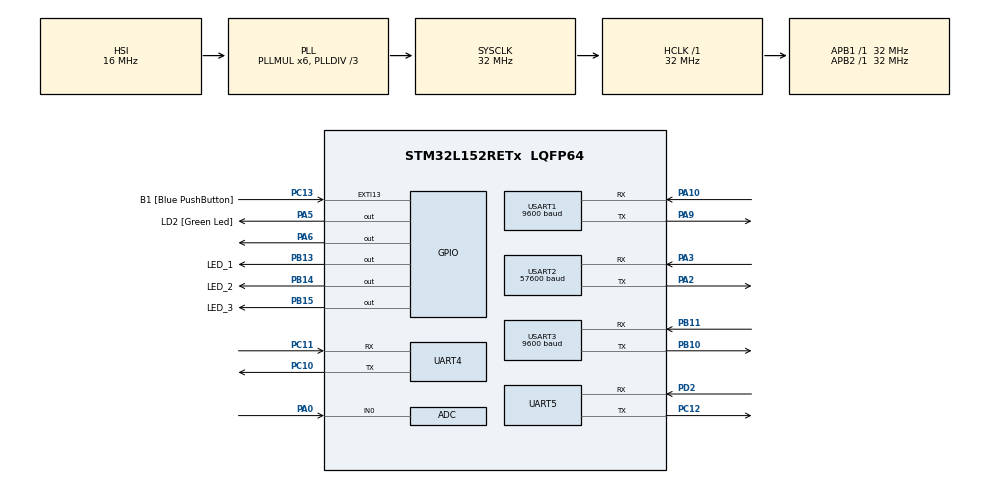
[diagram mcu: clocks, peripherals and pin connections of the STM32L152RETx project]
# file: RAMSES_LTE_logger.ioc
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ADC.Channel-0\#ChannelRegularConversion=ADC_CHANNEL_0
ADC.NbrOfConversionFlag=1
ADC.Rank-0\#ChannelRegularConversion=1
ADC.SamplingTime-0\#ChannelRegularConversion=ADC_SAMPLETIME_4CYCLES
Dma.Request0=USART2_RX
Dma.Request1=USART1_RX
Dma.Request2=USART3_RX
Dma.USART1_RX.1.Direction=DMA_PERIPH_TO_MEMORY
Dma.USART1_RX.1.Instance=DMA1_Channel5
Dma.USART1_RX.1.MemDataAlignment=DMA_MDATAALIGN_BYTE
Dma.USART1_RX.1.MemInc=DMA_MINC_ENABLE
Dma.USART1_RX.1.Mode=DMA_NORMAL
Dma.USART1_RX.1.PeriphDataAlignment=DMA_PDATAALIGN_BYTE
Dma.USART1_RX.1.PeriphInc=DMA_PINC_DISABLE
Dma.USART1_RX.1.Priority=DMA_PRIORITY_LOW
Dma.USART2_RX.0.Direction=DMA_PERIPH_TO_MEMORY
Dma.USART2_RX.0.Instance=DMA1_Channel6
Dma.USART2_RX.0.MemDataAlignment=DMA_MDATAALIGN_BYTE
Dma.USART2_RX.0.MemInc=DMA_MINC_ENABLE
Dma.USART2_RX.0.Mode=DMA_NORMAL
Dma.USART2_RX.0.PeriphDataAlignment=DMA_PDATAALIGN_BYTE
Dma.USART2_RX.0.PeriphInc=DMA_PINC_DISABLE
Dma.USART2_RX.0.Priority=DMA_PRIORITY_LOW
Dma.USART3_RX.2.Direction=DMA_PERIPH_TO_MEMORY
Dma.USART3_RX.2.Instance=DMA1_Channel3
Dma.USART3_RX.2.MemDataAlignment=DMA_MDATAALIGN_BYTE
Dma.USART3_RX.2.MemInc=DMA_MINC_ENABLE
Dma.USART3_RX.2.Mode=DMA_NORMAL
Dma.USART3_RX.2.PeriphDataAlignment=DMA_PDATAALIGN_BYTE
Dma.USART3_RX.2.PeriphInc=DMA_PINC_DISABLE
Dma.USART3_RX.2.Priority=DMA_PRIORITY_LOW
Mcu.Family=STM32L1
Mcu.Name=STM32L152RETx
Mcu.Package=LQFP64
NVIC.DMA1_Channel3_IRQn=true\:0\:0\:false\:false\:true\:false\:true\:true
NVIC.DMA1_Channel5_IRQn=true\:0\:0\:false\:false\:true\:false\:true\:true
NVIC.DMA1_Channel6_IRQn=true\:0\:0\:false\:false\:true\:false\:true\:true
NVIC.PriorityGroup=NVIC_PRIORITYGROUP_0
NVIC.USART1_IRQn=true\:0\:0\:false\:false\:true\:true\:true\:true
NVIC.USART2_IRQn=true\:0\:0\:false\:false\:true\:true\:true\:true
NVIC.USART3_IRQn=true\:0\:0\:false\:false\:true\:true\:true\:true
PA0-WKUP1.Mode=IN0
PA0-WKUP1.Signal=ADC_IN0
PA10.Mode=Asynchronous
PA10.Signal=USART1_RX
PA13.GPIO_Label=TMS
PA13.Signal=SYS_JTMS-SWDIO
PA14.GPIO_Label=TCK
PA14.Signal=SYS_JTCK-SWCLK
PA2.Mode=Asynchronous
PA2.Signal=USART2_TX
PA3.Mode=Asynchronous
PA3.Signal=USART2_RX
PA5.GPIO_Label=LD2 [Green Led]
PA5.Signal=GPIO_Output
PA6.Signal=GPIO_Output
PA9.Mode=Asynchronous
PA9.Signal=USART1_TX
PB10.Mode=Asynchronous
PB10.Signal=USART3_TX
PB11.Mode=Asynchronous
PB11.Signal=USART3_RX
PB13.GPIO_Label=LED_1
PB13.Signal=GPIO_Output
PB14.GPIO_Label=LED_2
PB14.Signal=GPIO_Output
PB15.GPIO_Label=LED_3
PB15.Signal=GPIO_Output
PB3.GPIO_Label=SWO
PB3.Signal=SYS_JTDO-TRACESWO
PC10.Mode=Asynchronous
PC10.Signal=UART4_TX
PC11.Mode=Asynchronous
PC11.Signal=UART4_RX
PC12.Mode=Asynchronous
PC12.Signal=UART5_TX
PC13-WKUP2.GPIO_Label=B1 [Blue PushButton]
PC13-WKUP2.Signal=GPXTI13
PC14-OSC32_IN.Signal=RCC_OSC32_IN
PC15-OSC32_OUT.Signal=RCC_OSC32_OUT
PD2.Mode=Asynchronous
PD2.Signal=UART5_RX
PH0-OSC_IN.Signal=RCC_OSC_IN
PH1-OSC_OUT.Signal=RCC_OSC_OUT
ProjectManager.HeapSize=0x200
ProjectManager.StackSize=0x400
ProjectManager.TargetToolchain=STM32CubeIDE
RCC.48MHZClocksFreq_Value=48000000
RCC.AHBFreq_Value=32000000
RCC.APB1Freq_Value=32000000
RCC.APB1TimFreq_Value=32000000
RCC.APB2Freq_Value=32000000
RCC.APB2TimFreq_Value=32000000
RCC.HCLKFreq_Value=32000000
RCC.HSE_VALUE=8000000
RCC.HSI_VALUE=16000000
RCC.LSE_VALUE=32768
RCC.MSI_VALUE=2097000
RCC.PLLDIV=RCC_PLL_DIV3
RCC.PLLMUL=RCC_PLL_MUL6
RCC.RTCClockSelectionVirtual=RCC_RTCCLKSOURCE_LSE
RCC.SYSCLKFreq_VALUE=32000000
RCC.SYSCLKSource=RCC_SYSCLKSOURCE_PLLCLK
RCC.USBOutput=48000000
RCC.VCOOutputFreq_Value=96000000
UART4.VirtualMode=Asynchronous
UART5.VirtualMode=Asynchronous
USART1.BaudRate=9600
USART1.VirtualMode=VM_ASYNC
USART2.BaudRate=57600
USART2.VirtualMode=VM_ASYNC
USART3.BaudRate=9600
USART3.VirtualMode=VM_ASYNC
board=NUCLEO-L152RE

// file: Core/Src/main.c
/* USER CODE BEGIN Header */
/**
 ******************************************************************************
 * @file           : main.c
 * @brief          : Main program body
 ******************************************************************************
 * @attention
 *
 * Copyright (c) 2023 STMicroelectronics.
 * All rights reserved.
 *
 * This software is licensed under terms that can be found in the LICENSE file
 * in the root directory of this software component.
 * If no LICENSE file comes with this software, it is provided AS-IS.
 *
 ******************************************************************************
 */
/* USER CODE END Header */
#include "main.h"

/* USER CODE BEGIN Includes */

#include "UART_DMA.h"
#include "scheduler.h"
#include <stdio.h>
#include <stdbool.h>
#include <time.h>
#include <stdlib.h>
#include <string.h>

/* USER CODE END Includes */

/* USER CODE BEGIN PD */

UARTDMA_HandleTypeDef hLTE_uart2dma6;
UARTDMA_HandleTypeDef hRAM_1_uart1dma5;
UARTDMA_HandleTypeDef hRAM_2_uart3dma3;

/* USER CODE END PD */

ADC_HandleTypeDef hadc;

UART_HandleTypeDef huart4;
UART_HandleTypeDef huart5;
UART_HandleTypeDef huart1;
UART_HandleTypeDef huart2;
UART_HandleTypeDef huart3;
DMA_HandleTypeDef hdma_usart1_rx;
DMA_HandleTypeDef hdma_usart2_rx;
DMA_HandleTypeDef hdma_usart3_rx;

/* USER CODE BEGIN PV */

uint8_t g_LTE_ParseBuffer[BUFFER_SIZE];
uint8_t g_RAM_1_ParseBuffer[BUFFER_SIZE];
uint8_t g_RAM_2_ParseBuffer[BUFFER_SIZE];

uint8_t g_fileName[60] = "AT+FTPPUTNAME=\"unknown_";

uint8_t g_dataSize[20] = " AT+FTPPUT=2,0";

uint8_t g_dataSizeResponse[20] = "+FTPPUT=2,0";

uint8_t gps_data_latest[BUFFER_SIZE] = {};

uint8_t g_RAM_1_data_latest[BUFFER_SIZE] = {};
uint16_t g_RAM_1_data_size = 0;
uint8_t g_RAM_1_data_ready = 0;
uint8_t g_RAM_1_dataSize[20] = " AT+FTPPUT=2,0"; // buffer to prepare FTP for data
uint8_t g_RAM_1_dataSizeResponse[20] = "+FTPPUT=2,0";
long g_RAM_1_timer = 0;

uint8_t g_RAM_1_triggered = 0;

uint8_t g_RAM_2_data_latest[BUFFER_SIZE] = {};
uint16_t g_RAM_2_data_size = 0;
uint8_t g_RAM_2_data_ready = 0;
uint8_t g_RAM_2_dataSize[20] = " AT+FTPPUT=2,0"; // buffer to prepare FTP for data
uint8_t g_RAM_2_dataSizeResponse[20] = "+FTPPUT=2,0";
long g_RAM_2_timer = 0;

uint8_t g_RAM_2_triggered = 0;

command LTE_sim_check_active = {
		.cmd = (uint8_t*)"AT\r\n",
		.length = 0, // zero indicate's it's a char. LTE_Send function handles it automatically
		.good_answer = (uint8_t*)"OK",
		.timeout = 2000,
		.bad_answer = (uint8_t*)"ERROR",
		.act_on_error = RETRY,
		.retry_counter = 3
};

command LTE_disable_echo = {
		.cmd = (uint8_t*)"ATE0\r\n",
		.length = 0, // zero indicate's it's a char. LTE_Send function handles it automatically
		.good_answer = (uint8_t*)"OK",
		.timeout = 2000,
		.bad_answer = (uint8_t*)"ERROR",
		.act_on_error = RETRY,
		.retry_counter = 3
};

command LTE_deactivate_gprs = {
		.cmd = (uint8_t*)"AT+CIPSHUT\r\n",
		.length = 0, // zero indicate's it's a char. LTE_Send function handles it automatically
		.good_answer = (uint8_t*)"SHUT OK",
		.timeout = 2000,
		.bad_answer = (uint8_t*)"ERROR",
		.act_on_error = RETRY,
		.retry_counter = 3
};

command LTE_attach_gprs = {
		.cmd = (uint8_t*)"AT+CGATT=1\r\n",
		.length = 0, // zero indicate's it's a char. LTE_Send function handles it automatically
		.good_answer = (uint8_t*)"OK",
		.timeout = 2000,
		.bad_answer = (uint8_t*)"ERROR",
		.act_on_error = RETRY,
		.retry_counter = 3
};

command LTE_set_apn = {
		.cmd = (uint8_t*)"AT+CSTT=\"internet\",\"\",\"\"\r\n",
		.length = 0, // zero indicate's it's a char. LTE_Send function handles it automatically
		.good_answer = (uint8_t*)"OK",
		.timeout = 5000,
		.bad_answer = (uint8_t*)"ERROR",
		.act_on_error = RETRY,
		.retry_counter = 3
};

command LTE_gprs_up = {
		.cmd = (uint8_t*)"AT+CIICR\r\n",
		.length = 0, // zero indicate's it's a char. LTE_Send function handles it automatically
		.good_answer = (uint8_t*)"OK",
		.timeout = 5000,
		.bad_answer = (uint8_t*)"ERROR",
		.act_on_error = RETRY,
		.retry_counter = 3
};

command LTE_get_ip = {
		.cmd = (uint8_t*)"AT+CIFSR\r\n",
		.length = 0, // zero indicate's it's a char. LTE_Send function handles it automatically
		.good_answer = (uint8_t*)"ANY",
		.timeout = 5000,
		.bad_answer = (uint8_t*)"ERROR",
		.act_on_error = RETRY,
		.retry_counter = 3
};

command LTE_init_gps = {
		.cmd = (uint8_t*)"AT+CGNSPWR=1\r\n",
		.length = 0, // zero indicate's it's a char. LTE_Send function handles it automatically
		.good_answer = (uint8_t*)"OK",
		.timeout = 2000,
		.bad_answer = (uint8_t*)"ERROR",
		.act_on_error = RETRY,
		.retry_counter = 3
};

command LTE_get_position = {
		.cmd = (uint8_t*)"AT+CGNSINF\r\n",
		.length = 0, // zero indicate's it's a char. LTE_Send function handles it automatically
		.good_answer = (uint8_t*)"OK",
		.timeout = 2000,
		.bad_answer = (uint8_t*)"ERROR",
		.act_on_error = RETRY,
		.retry_counter = 0
};

command LTE_ftp_quit = {
		.cmd = (uint8_t*)"AT+FTPQUIT\r\n",
		.length = 0, // zero indicate's it's a char. LTE_Send function handles it automatically
		.good_answer = (uint8_t*)"ANY",
		.timeout = 2000,
		.bad_answer = (uint8_t*)"ERROR",
		.act_on_error = MOVE_ON,
		.retry_counter = 0
};

command LTE_bearer_1 = {
		.cmd = (uint8_t*)"AT+SAPBR=3,1,\"Contype\",\"GPRS\"\r\n",
		.length = 0, // zero indicate's it's a char. LTE_Send function handles it automatically
		.good_answer = (uint8_t*)"OK",
		.timeout = 2000,
		.bad_answer = (uint8_t*)"ERROR",
		.act_on_error = MOVE_ON,
		.retry_counter = 0
};

command LTE_bearer_2 = {
		.cmd = (uint8_t*)"AT+SAPBR=3,1,\"APN\",\"internet\"\r\n",
		.length = 0, // zero indicate's it's a char. LTE_Send function handles it automatically
		.good_answer = (uint8_t*)"OK",
		.timeout = 2000,
		.bad_answer = (uint8_t*)"ERROR",
		.act_on_error = MOVE_ON,
		.retry_counter = 0
};

command LTE_bearer_3 = {
		.cmd = (uint8_t*)"AT+SAPBR=1,1\r\n",
		.length = 0, // zero indicate's it's a char. LTE_Send function handles it automatically
		//.good_answer = (uint8_t*)"OK",
		.good_answer = (uint8_t*)"ANY",
		.timeout = 2000,
		.bad_answer = (uint8_t*)"ERROR",
		.act_on_error = MOVE_ON,
		.retry_counter = 0
};

command LTE_set_dns = {
		.cmd = (uint8_t*)"AT+CDNSCFG=\"8.8.8.8\",\"8.8.4.4\"\r\n",
		.length = 0, // zero indicate's it's a char. LTE_Send function handles it automatically
		.good_answer = (uint8_t*)"OK",
		.timeout = 2000,
		.bad_answer = (uint8_t*)"ERROR",
		.act_on_error = MOVE_ON,
		.retry_counter = 0
};

command LTE_ftp_bearer = {
		.cmd = (uint8_t*)"AT+FTPCID=1\r\n",
		.length = 0, // zero indicate's it's a char. LTE_Send function handles it automatically
		.good_answer = (uint8_t*)"OK",
		.timeout = 2000,
		.bad_answer = (uint8_t*)"ERROR",
		.act_on_error = MOVE_ON,
		.retry_counter = 0
};

command LTE_ftp_type_binary = {
		.cmd = (uint8_t*)"AT+FTPTYPE=\"I\"\r\n",
		.length = 0, // zero indicate's it's a char. LTE_Send function handles it automatically
		.good_answer = (uint8_t*)"OK",
		.timeout = 2000,
		.bad_answer = (uint8_t*)"ERROR",
		.act_on_error = MOVE_ON,
		.retry_counter = 0
};

command LTE_ftp_append = {
		.cmd = (uint8_t*)"AT+FTPPUTOPT=\"APPE\"\r\n",
		.length = 0, // zero indicate's it's a char. LTE_Send function handles it automatically
		.good_answer = (uint8_t*)"OK",
		.timeout = 2000,
		.bad_answer = (uint8_t*)"ERROR",
		.act_on_error = MOVE_ON,
		.retry_counter = 0
};

command LTE_ftp_ip = {
		.cmd = (uint8_t*)"AT+FTPSERV=\"188.210.221.82\"\r\n",
		.length = 0, // zero indicate's it's a char. LTE_Send function handles it automatically
		.good_answer = (uint8_t*)"OK",
		.timeout = 2000,
		.bad_answer = (uint8_t*)"ERROR",
		.act_on_error = MOVE_ON,
		.retry_counter = 0
};

command LTE_ftp_user = {
		.cmd = (uint8_t*)"AT+FTPUN=\"ftp@unmanned.solutions\"\r\n",
		.length = 0, // zero indicate's it's a char. LTE_Send function handles it automatically
		.good_answer = (uint8_t*)"OK",
		.timeout = 2000,
		.bad_answer = (uint8_t*)"ERROR",
		.act_on_error = MOVE_ON,
		.retry_counter = 0
};

command LTE_ftp_pass = {
		.cmd = (uint8_t*)"AT+FTPPW=\"cIzCm9jQ\"\r\n",
		.length = 0, // zero indicate's it's a char. LTE_Send function handles it automatically
		.good_answer = (uint8_t*)"OK",
		.timeout = 2000,
		.bad_answer = (uint8_t*)"ERROR",
		.act_on_error = MOVE_ON,
		.retry_counter = 0
};

command LTE_ftp_port = {
		.cmd = (uint8_t*)"AT+FTPPORT=21\r\n",
		.length = 0, // zero indicate's it's a char. LTE_Send function handles it automatically
		.good_answer = (uint8_t*)"OK",
		.timeout = 2000,
		.bad_answer = (uint8_t*)"ERROR",
		.act_on_error = MOVE_ON,
		.retry_counter = 0
};

command LTE_ftp_path = {
		.cmd = (uint8_t*)"AT+FTPPUTPATH=\"/\"\r\n",
		.length = 0, // zero indicate's it's a char. LTE_Send function handles it automatically
		.good_answer = (uint8_t*)"OK",
		.timeout = 2000,
		.bad_answer = (uint8_t*)"ERROR",
		.act_on_error = MOVE_ON,
		.retry_counter = 0
};

command LTE_get_time = {
		.cmd = (uint8_t*)"AT+CCLK?\r\n",
		.length = 0, // zero indicate's it's a char. LTE_Send function handles it automatically
		.good_answer = (uint8_t*)"OK",
		.timeout = 5000,
		.bad_answer = (uint8_t*)"ERROR",
		.act_on_error = MOVE_ON,
		.retry_counter = 0
};

command LTE_ftp_filename = {
		.cmd = g_fileName,
		.length = 0, // zero indicate's it's a char. LTE_Send function handles it automatically
		.good_answer = (uint8_t*)"OK",
		.timeout = 5000,
		.bad_answer = (uint8_t*)"ERROR",
		.act_on_error = MOVE_ON,
		.retry_counter = 0
};

command LTE_ftp_start_put = {
		.cmd = (uint8_t*)"AT+FTPPUT=1\r\n",
		.length = 0, // zero indicate's it's a char. LTE_Send function handles it automatically
		.good_answer = (uint8_t*)"+FTPPUT: 1,1,1360",
		.timeout = 10000,
		.bad_answer = (uint8_t*)"+FTPPUT: 1,66",
		.act_on_error = RESET_PROCESSOR,
		.retry_counter = 0
};

command LTE_ftp_put_data_size = {
		.cmd = g_dataSize,
		.length = 0, // zero indicate's it's a char. LTE_Send function handles it automatically
		.good_answer = g_dataSizeResponse,
		.timeout = 4000,
		.bad_answer = (uint8_t*)"ERROR",
		.act_on_error = RESET_PROCESSOR,
		.retry_counter = 0
};

command LTE_ftp_put_data = {
		.cmd = gps_data_latest,
		.length = 0, // zero indicate's it's a char. LTE_Send function handles it automatically
		//.good_answer = (uint8_t*)"OK",
		.good_answer = (uint8_t*)"+FTPPUT: 1,1,1360",
		.timeout = 4000,
		.bad_answer = (uint8_t*)"ERROR",
		.act_on_error = RESET_PROCESSOR,
		.retry_counter = 0
};

command LTE_ftp_end_put = {
		.cmd = (uint8_t*)"AT+FTPPUT=2,0\r\n",
		.length = 0, // zero indicate's it's a char. LTE_Send function handles it automatically
		.good_answer = (uint8_t*)"OK",
		.timeout = 5000,
		.bad_answer = (uint8_t*)"ERROR",
		.act_on_error = RESET_PROCESSOR,
		.retry_counter = 0
};

// SIGNAL commands
command LTE_ftp_active = {
		.cmd = (uint8_t*)"FTP_ACTIVE"
};

command LTE_reset_action = {
		.cmd = (uint8_t*)"RESET_ACTION"
};

command RAM_1_query = {
		.cmd = (uint8_t*)"RAMSES_1_QUERY"
};

command RAM_1_sample = {
		.cmd = (uint8_t*)"RAMSES_1_SAMPLE"
};

command RAM_2_query = {
		.cmd = (uint8_t*)"RAMSES_2_QUERY"
};

command RAM_2_sample = {
		.cmd = (uint8_t*)"RAMSES_2_SAMPLE"
};

command RAM_1_2_sample = {
		.cmd = (uint8_t*)"RAMSES_1_2_SAMPLE"
};

command LTE_ftp_put_RAM_1_data_size = {
		.cmd = g_RAM_1_dataSize,
		.length = 0, // zero indicate's it's a char. LTE_Send function handles it automatically
		.good_answer = g_RAM_1_dataSizeResponse,
		.timeout = 4000,
		.bad_answer = (uint8_t*)"ERROR",
		.act_on_error = RESET_PROCESSOR,
		.retry_counter = 0
};

command LTE_ftp_put_RAM_2_data_size = {
		.cmd = g_RAM_2_dataSize,
		.length = 0, // zero indicate's it's a char. LTE_Send function handles it automatically
		.good_answer = g_RAM_2_dataSizeResponse,
		.timeout = 4000,
		.bad_answer = (uint8_t*)"ERROR",
		.act_on_error = RESET_PROCESSOR,
		.retry_counter = 0
};

command LTE_ftp_put_RAM_1_data = {  // sizeof will not work here
		.cmd = g_RAM_1_data_latest,
		.length = -1, // that's a bitfield
		.good_answer = (uint8_t*)"+FTPPUT: 1,1,1360",
		//.good_answer = (uint8_t*)"OK",
		.timeout = 4000,
		.bad_answer = (uint8_t*)"ERROR",
		.act_on_error = RESET_PROCESSOR,
		.retry_counter = 0
};

command LTE_ftp_put_RAM_2_data = { // sizeof will not work here
		.cmd = g_RAM_2_data_latest,
		.length = -1, // that's a bitfield
		//.good_answer = (uint8_t*)"OK",
		.good_answer = (uint8_t*)"+FTPPUT: 1,1,1360",
		.timeout = 4000,
		.bad_answer = (uint8_t*)"ERROR",
		.act_on_error = RESET_PROCESSOR,
		.retry_counter = 0
};

command LTE_ftp_put_RAM_1_preamble_size = {
		.cmd = (uint8_t*)"AT+FTPPUT=2,7\r\n",
		.length = 0, // zero indicate's it's a char. LTE_Send function handles it automatically
		.good_answer = (uint8_t*)"+FTPPUT: 2,7",
		.timeout = 5000,
		.bad_answer = (uint8_t*)"ERROR",
		.act_on_error = RESET_PROCESSOR,
		.retry_counter = 0
};

command LTE_ftp_put_RAM_1_preamble = {
		.cmd = (uint8_t*)"#+RAM_1",
		.length = 0, // zero indicate's it's a char. LTE_Send function handles it automatically
		.good_answer = (uint8_t*)"+FTPPUT: 1,1,1360",
		.timeout = 4000,
		.bad_answer = (uint8_t*)"ERROR",
		.act_on_error = RESET_PROCESSOR,
		.retry_counter = 0
};

command LTE_ftp_put_RAM_2_preamble_size = {
		.cmd = (uint8_t*)"AT+FTPPUT=2,7\r\n",
		.length = 0, // zero indicate's it's a char. LTE_Send function handles it automatically
		.good_answer = (uint8_t*)"+FTPPUT: 2,7",
		.timeout = 5000,
		.bad_answer = (uint8_t*)"ERROR",
		.act_on_error = RESET_PROCESSOR,
		.retry_counter = 0
};

command LTE_ftp_put_RAM_2_preamble = {
		.cmd = (uint8_t*)"#+RAM_2",
		.length = 0, // zero indicate's it's a char. LTE_Send function handles it automatically
		.good_answer = (uint8_t*)"+FTPPUT: 1,1,1360",
		.timeout = 4000,
		.bad_answer = (uint8_t*)"ERROR",
		.act_on_error = RESET_PROCESSOR,
		.retry_counter = 0
};

/* USER CODE END PV */

void SystemClock_Config(void);
static void MX_GPIO_Init(void);
static void MX_DMA_Init(void);
static void MX_USART2_UART_Init(void);
static void MX_UART4_Init(void);
static void MX_USART1_UART_Init(void);
static void MX_USART3_UART_Init(void);
static void MX_ADC_Init(void);
static void MX_UART5_Init(void);
/* USER CODE BEGIN PFP */

#ifdef __GNUC__
#define PUTCHAR_PROTOTYPE int __io_putchar(int ch)
#else
#define PUTCHAR_PROTOTYPE int fputc(int ch, FILE *f)
#endif

PUTCHAR_PROTOTYPE
{
	HAL_UART_Transmit(&huart4, (uint8_t *)&ch, 1, HAL_MAX_DELAY);
	return ch;
}

/* USER CODE END PFP */

int main(void)
{

	/* MCU Configuration--------------------------------------------------------*/

	/* Reset of all peripherals, Initializes the Flash interface and the Systick. */
	HAL_Init();

	/* Configure the system clock */
	SystemClock_Config();

	/* USER CODE BEGIN SysInit */

	srand(time(NULL));

	/* USER CODE END SysInit */

	/* Initialize all configured peripherals */
	MX_GPIO_Init();
	MX_DMA_Init();
	MX_USART2_UART_Init();
	MX_UART4_Init();
	MX_USART1_UART_Init();
	MX_USART3_UART_Init();
	MX_ADC_Init();
	MX_UART5_Init();
	/* USER CODE BEGIN 2 */

	UARTDMA_Init(&hLTE_uart2dma6, &huart2); // receives LTE modem serial
	UARTDMA_Init(&hRAM_1_uart1dma5, &huart1); // receives RAMSES 1 serial
	UARTDMA_Init(&hRAM_2_uart3dma3, &huart3); // receives RAMSES 2 serial

	HAL_GPIO_WritePin(LED_1_GPIO_Port, LED_1_Pin, SET);
	HAL_GPIO_WritePin(LED_2_GPIO_Port, LED_2_Pin, SET);
	HAL_GPIO_WritePin(LED_3_GPIO_Port, LED_3_Pin, SET);

	/* USER CODE END 2 */

	/* Infinite loop */
	/* USER CODE BEGIN WHILE */

	char random[20]; 				// create an initial file name, in case LTE won't get time fix
	itoa(rand(), random, 10);
	strcat((char*)g_fileName, random);
	strcat((char*)g_fileName, ".txt\"\r\n");

	printf("\t\tFILE_RAND: %s\r\n", g_fileName);

	// query, sample, dataSize, data

	uint8_t current_action = 0; // currently executed action

	uint8_t filename_time_set = 0; // flag to see if random file name was updated with LTE time

	//uint8_t transfer_status = 0;

	command action_list[255]; // list of actions to perform

	uint8_t startup = 0; // flag to see if we just reset the processor to check LTE modem - if it is On or Off

	int resolution = 0; // reduces amount of printf, helpful in case there's no delay between loops

	action_list[0] = LTE_sim_check_active;
	action_list[1] = LTE_disable_echo;
	action_list[2] = LTE_deactivate_gprs;
	action_list[3] = LTE_attach_gprs;
	action_list[4] = LTE_set_apn;
	action_list[5] = LTE_gprs_up;
	action_list[6] = LTE_get_ip;
	action_list[7] = LTE_init_gps;
	action_list[8] = LTE_reset_action;
	action_list[9] = LTE_bearer_1;
	action_list[10] = LTE_bearer_2;
	action_list[11] = LTE_bearer_3;
	action_list[12] = LTE_set_dns;

	action_list[13] = RAM_1_query;

	action_list[14] = LTE_get_position;

	action_list[15] = RAM_2_query;

	action_list[16] = LTE_get_time;

	action_list[17] = LTE_ftp_quit;
	action_list[18] = LTE_ftp_bearer;
	action_list[19] = LTE_ftp_type_binary;
	action_list[20] = LTE_ftp_append;
	action_list[21] = LTE_ftp_ip;
	action_list[22] = LTE_ftp_user;
	action_list[23] = LTE_ftp_pass;
	action_list[24] = LTE_ftp_port;
	action_list[25] = LTE_ftp_path;
	action_list[26] = LTE_ftp_filename;

	action_list[27] = LTE_ftp_start_put;
	action_list[28] = LTE_ftp_put_data_size;
	action_list[29] = LTE_ftp_put_data;

	action_list[30] = LTE_ftp_put_RAM_1_preamble_size;
	action_list[31] = LTE_ftp_put_RAM_1_preamble;

	action_list[32] = LTE_ftp_put_RAM_1_data_size;
	action_list[33] = LTE_ftp_put_RAM_1_data;

	action_list[34] = LTE_ftp_put_RAM_2_preamble_size;
	action_list[35] = LTE_ftp_put_RAM_2_preamble;

	action_list[36] = LTE_ftp_put_RAM_2_data_size;
	action_list[37] = LTE_ftp_put_RAM_2_data;

	action_list[38] = LTE_ftp_end_put;

	action_list[39] = RAM_1_sample;

	action_list[40] = LTE_get_position;

	action_list[41] = RAM_2_sample;

	action_list[42] = LTE_get_time;

	// sample loop cycle below

	action_list[43] = LTE_ftp_start_put;
	action_list[44] = LTE_ftp_put_data_size;
	action_list[45] = LTE_ftp_put_data;

	action_list[46] = LTE_ftp_put_RAM_1_preamble_size;
	action_list[47] = LTE_ftp_put_RAM_1_preamble;

	action_list[48] = LTE_ftp_put_RAM_1_data_size;
	action_list[49] = LTE_ftp_put_RAM_1_data;

	action_list[50] = LTE_ftp_put_RAM_2_preamble_size;
	action_list[51] = LTE_ftp_put_RAM_2_preamble;

	action_list[52] = LTE_ftp_put_RAM_2_data_size;
	action_list[53] = LTE_ftp_put_RAM_2_data;

	action_list[54] = LTE_ftp_end_put;

	// get new data
	action_list[55] = RAM_1_sample; 				// list ends with request for new data. A new cycle should be triggered when both RAMSESEs sends data

	action_list[56] = LTE_get_position;

	action_list[57] = RAM_2_sample;

	action_list[58] = LTE_get_time;

	action_list[59] = LTE_reset_action;

	uint8_t last_action = 59; // number of the last action we want to execute
	uint8_t cycle_start_action = 43; // number of the last action we want to execute

	//
	//	action_list[17] = LTE_ftp_start_put;
	//	action_list[18] = LTE_ftp_put_RAM_1_data_size;
	//	action_list[19] = RAM_1_send_LTE;
	//
	//	action_list[20] = LTE_ftp_start_put;
	//	action_list[21] = LTE_ftp_put_RAM_2_data_size;
	//	action_list[22] = RAM_2_send_LTE;

	// action_list[] = RAM_1_sample;
	// action_list[] = RAM_2_sample;

	// action_list[] = LTE_ftp_start_put;
	// action_list[] = LTE_ftp_put_RAM_1_data_size;
	// action_list[] = RAM_1_send_LTE;

	// action_list[] = LTE_ftp_start_put;
	// action_list[] = LTE_ftp_put_RAM_2_data_size;
	// action_list[] = RAM_2_send_LTE;

	//uint8_t ftp_transfer_active = 0;

	Clear_Array(g_LTE_ParseBuffer, BUFFER_SIZE); // let's start with clean LTE buffer

	hRAM_1_uart1dma5.UartTransferCompleted = 0;
	hRAM_2_uart3dma3.UartTransferCompleted = 0;

	uint8_t ftp_flag = 0;

	while (1)
	{

		if(current_action > last_action){ // wait with a cycle, until RAMSES data is ready
			if(g_RAM_1_data_ready == 1 && g_RAM_2_data_ready == 1){
				current_action = cycle_start_action; // WARNING, the end of the list must trigger RAMSES measurements (or RAMSES timeout)
			}else{
				current_action = last_action;
			}
			Clear_Array(g_LTE_ParseBuffer, BUFFER_SIZE);
		}

		if(action_list[current_action].cmd == LTE_ftp_quit.cmd){ // ftp connection process starts, start blinking blue led.
			ftp_flag = 1;
		}

		if((resolution % 50) == 0){ // reducing UI speed
			//printf("TRYING: >>%s<<\r\n", action_list[current_action].cmd);
			printf("TRYING: >>%d<<\r\n", current_action);

			if(ftp_flag == 1){
				HAL_GPIO_TogglePin(LED_2_GPIO_Port, LED_2_Pin); //  ftp connection process starts, start blinking blue led.
			}
		}

		enum State state = Do_Action(action_list[current_action], g_LTE_ParseBuffer);
		resolution++;

		//uint8_t query[] = { 0x23, 0x00, 0x00, 0x80, 0xB0, 0x00, 0x00, 0x01 };
		//uint8_t query[] = { 0x23, 0x00, 0x00, 0x00, 0xA8, 0x00, 0x81, 0x01 };

		switch (state){
		case GOOD_ANSWER:
			//HAL_UART_Transmit(&huart1, query, SAMPLE_CMD_SIZE, 500);
			//HAL_UART_Transmit(&huart3, sam, SAMPLE_CMD_SIZE, 500);

			HAL_GPIO_WritePin(LED_3_GPIO_Port, LED_3_Pin, SET); // Good answer - turn off yellow LED

			if(action_list[current_action].cmd == LTE_ftp_put_data.cmd){
				HAL_GPIO_WritePin(LED_2_GPIO_Port, LED_2_Pin, RESET);
				ftp_flag = 2;
			}

			//printf("%s - %s\r\n", action_list[current_action].cmd, action_list[current_action].good_answer);
			printf("\tREPLY: >>%s<<\r\n", (char*)g_LTE_ParseBuffer);

			// printf("\t\t\tTIME: >>%d<<\r\n", HAL_GetTick());

			Do_Action(LTE_reset_action, g_LTE_ParseBuffer);
			current_action++;
			HAL_Delay(action_list[current_action].timeout / 2);
			startup = 5;
			resolution = 0;
			break;
		case READY:
			//printf("%s - READY\r\n", action_list[current_action].cmd);
			//printf("BUFFER: >>%s<<\r\n", (char*)LTE_ParseBuffer);
			current_action++;
			resolution = 0;
			break;
		case TIMEOUT:
			printf("%s - Timeout\r\n", action_list[current_action].cmd);
			if(startup < 2){
				printf("INIT\r\n");
				printf("TURN ON\r\n");
				HAL_GPIO_WritePin(GPIOA,  GPIO_PIN_6, GPIO_PIN_SET);
				HAL_Delay(1500);
				HAL_GPIO_WritePin(GPIOA,  GPIO_PIN_6, GPIO_PIN_RESET);
				HAL_Delay(5000);
				startup++;
			}

			if(action_list[current_action].cmd == LTE_ftp_put_data.cmd){ // turn off Blue LED, since ftp failed
				HAL_GPIO_WritePin(LED_2_GPIO_Port, LED_2_Pin, SET);
				ftp_flag = 3;
			}

			Do_Action(LTE_reset_action, (uint8_t*)g_LTE_ParseBuffer);

			if(action_list[current_action].cmd != LTE_sim_check_active.cmd){ // the sim active command can timeout, because modem is off by default
				HAL_GPIO_WritePin(LED_1_GPIO_Port, LED_1_Pin, RESET); // TIMEOUT - turn on red LED
			}

			HAL_Delay(action_list[current_action].timeout);
			current_action=0;
			resolution = 0;
			break;
		case BAD_ANSWER:

			HAL_GPIO_WritePin(LED_3_GPIO_Port, LED_3_Pin, RESET); // Bad answer - turn on yellow LED

			if(action_list[current_action].cmd == LTE_ftp_put_data.cmd){ // turn off Blue LED, since ftp failed
				HAL_GPIO_WritePin(LED_2_GPIO_Port, LED_2_Pin, SET);
				ftp_flag = 3;
			}

			printf("%s - %s\r\n", action_list[current_action].cmd, action_list[current_action].bad_answer);
			Do_Action(LTE_reset_action, (uint8_t*)g_LTE_ParseBuffer);
			HAL_Delay(action_list[current_action].timeout);
			startup = 5;
			resolution = 0;
			break;
		case FTP_ACTIVE:

			break;
		default:
			break;
		};

		if(hRAM_1_uart1dma5.UartTransferCompleted == 1)
		{
			printf("\t\t\t\tRAMSES_1\r\n");
			// remember about timeout

			int tmpByte;
			int count = 0;
			//uint8_t* LinePointer = g_RAM_1_data_latest;

			while((tmpByte = UARTDMA_GetCharFromBuffer(&hRAM_1_uart1dma5)) != -1){ // it use a feature that I read 8 bit data, so I can use 16bit negative to detect end of queue
				//	*LinePointer = (uint8_t) tmpByte;
				//	LinePointer++;
				//printf("\t\t\t\tRAMSES_1: >>%c<<\r\n", (char)tmpByte);
				printf("\t\t\t\t\tRAMSES_1: >>%d<<\r\n", count);
				g_RAM_1_data_latest[count]= (uint8_t)tmpByte;
				count++;
			}
			//g_RAM_1_data_latest[count]= '\0';
			printf("\t\t\t\tRAMSES_1: >>%d<<\r\n", count);

			g_RAM_1_data_size = count;

			char save[100] = "AT+FTPPUT=2,";
			char len[10];
			itoa(g_RAM_1_data_size, len, 10);
			strcat(save, len);
			strcat(save, "\r\n");

			strcpy((char*)g_RAM_1_dataSize, save);

			char save2[100] = "+FTPPUT: 2,";
			strcat(save2, len);

			strcpy((char*)g_RAM_1_dataSizeResponse, save2);

			g_RAM_1_data_ready = 1;
		}

		if(hRAM_2_uart3dma3.UartTransferCompleted == 1)
		{
			printf("\t\t\t\tRAMSES_2\r\n");

			int tmpByte;
			int count = 0;
			//uint8_t* LinePointer = g_RAM_1_data_latest;

			while((tmpByte = UARTDMA_GetCharFromBuffer(&hRAM_2_uart3dma3)) != -1){ // it use a feature that I read 8 bit data, so I can use 16bit negative to detect end of queue
				//	*LinePointer = (uint8_t) tmpByte;
				//	LinePointer++;
				//printf("\t\t\t\tRAMSES_1: >>%c<<\r\n", (char)tmpByte);
				printf("\t\t\t\t\tRAMSES_2: >>%d<<\r\n", count);
				g_RAM_2_data_latest[count]= (uint8_t)tmpByte;
				count++;
			}
			//g_RAM_1_data_latest[count]= '\0';
			printf("\t\t\t\tRAMSES_2: >>%d<<\r\n", count);

			g_RAM_2_data_size = count;

			char save[100] = "AT+FTPPUT=2,";
			char len[10];
			itoa(g_RAM_2_data_size, len, 10);
			strcat(save, len);
			strcat(save, "\r\n");

			strcpy((char*)g_RAM_2_dataSize, save);

			char save2[100] = "+FTPPUT: 2,";
			strcat(save2, len);

			strcpy((char*)g_RAM_2_dataSizeResponse, save2);

			g_RAM_2_data_ready = 1;

		}

		if(g_RAM_1_triggered == 1 && ((g_RAM_1_timer + RAMSES_TIMEOUT) < HAL_GetTick()) && g_RAM_1_data_ready == 0){
			// RAMSES timeout
			// if no response, report timeout
			printf("\t\t\t\tRAMSES_1 TIMEOUT\r\n");
			strcpy((char*)g_RAM_1_data_latest, "#+RAM_1_TIMEOUT");
			strcpy((char*)g_RAM_1_dataSize, "AT+FTPPUT=2,15\r\n");
			strcpy((char*)g_RAM_1_dataSizeResponse, "+FTPPUT: 2,15");

			g_RAM_1_data_ready = 1;
			g_RAM_1_triggered = 0;
		}

		if(g_RAM_2_triggered == 1 && ((g_RAM_2_timer + RAMSES_TIMEOUT) < HAL_GetTick()) && g_RAM_2_data_ready == 0){
			// RAMSES timeout
			printf("\t\t\t\tRAMSES_2 TIMEOUT\r\n");

			strcpy((char*)g_RAM_2_data_latest, "#+RAM_2_TIMEOUT");
			strcpy((char*)g_RAM_2_dataSize, "AT+FTPPUT=2,15\r\n");
			strcpy((char*)g_RAM_2_dataSizeResponse, "+FTPPUT: 2,15");

			g_RAM_2_data_ready = 1;
			g_RAM_2_triggered = 0;
		}

		if(UARTDMA_IsDataReady(&hLTE_uart2dma6))
		{
			UARTDMA_GetLineFromBuffer(&hLTE_uart2dma6, (char*)g_LTE_ParseBuffer);
			printf("\tBUFFER: >>%s<<\r\n", (char*)g_LTE_ParseBuffer);

			// if message is time, update FTP filename
			char* ptr;
			if((ptr = strstr((char*)g_LTE_ParseBuffer, "+CCLK: ")) != NULL){
				printf("\t\tTIME: %s\r\n", (char*)g_LTE_ParseBuffer);

				strcat((char*)gps_data_latest,(char*)g_LTE_ParseBuffer); // append GPS data with LTE time
				//strcat(gps_data_latest,"\r\n");

				printf("GPS BUFFER AT TIME: %s\r\n", gps_data_latest);

				if(filename_time_set == 0){ // it's the first time I receive, and I will set FTP file name based on it

					filename_time_set = 1; // do not repeat

					char* timeString = ptr+8;

					for (int i = 0; i < strlen(timeString); i++)
					{
						if ((timeString[i] > '9') || (timeString[i] < '0')){
							timeString[i] = '_';
						}
						if(i>19){
							timeString[i] = '\0';
						}
					}

					char fileNameLocal[60] = "AT+FTPPUTNAME=\"";
					strcat(fileNameLocal, timeString);
					strcat(fileNameLocal, ".txt\"\r\n");

					printf("\tFILENAME_TIME_CHANGE: %s\r\n", fileNameLocal);

					strcpy((char*)g_fileName, fileNameLocal);

				}

				char save[100] = "AT+FTPPUT=2,";
				char len[5];
				itoa(strlen((char*)gps_data_latest), len, 10);
				strcat(save, len);
				strcat(save, "\r\n");

				strcpy((char*)g_dataSize, save);

				char save2[100] = "+FTPPUT: 2,";
				strcat(save2, len);

				strcpy((char*)g_dataSizeResponse, save2);

				printf("\tASSERT_EXPECTED_REPLY: %s\r\n", g_dataSizeResponse);

				//				// LTE_ftp_put_data referst to gps_data_latest already
				//				char* tmp2 = (char*) calloc(strlen(gps_data_latest), sizeof(char));
				//				if(tmp2 != NULL){
				//					strcpy(tmp2, gps_data_latest);
				//					free(LTE_ftp_put_data.cmd);
				//					LTE_ftp_put_data.cmd = tmp2;
				//					printf("FTP SAVE DATA: %s\r\n", LTE_ftp_put_data.cmd);
				//				}else{
				//					printf("\t\t\t\tCALLOC_FAIL_DATA");
				//				}

			}else if((ptr = strstr((char*)g_LTE_ParseBuffer, "+FTPPUT: 1,1,")) != NULL){ // else, if message is FTP server ready for data response
				//ftp_transfer_active = 1;
				//transfer_status++;
				printf("FTP #: %d\r\n", atoi(ptr+13));
			}else if((ptr = strstr((char*)g_LTE_ParseBuffer, "+CGNSINF")) != NULL){ // save GPS data
				//ftp_transfer_active = 0;
				//transfer_status = 0; // I receive new GPS data, which means I don't transmit

				Clear_Array(gps_data_latest, BUFFER_SIZE); // clean old entries

				gps_data_latest[0] = '#'; // preamble
				for(int i=0; i<strlen((char*)g_LTE_ParseBuffer)-1; i++){ // -1 because I added preamble
					gps_data_latest[i+1] = g_LTE_ParseBuffer[i];
				}

				//char fake[BUFFER_SIZE] = "+CGNSINF: 5109.0262308,N,11401.8407342,203522.00,A,5109.0262308,N,11401.8407342,W,0.004,133.4,130522,0.0,E,D*2B";
				//				for(int i=0; i<strlen(fake); i++){
				//					gps_data_latest[i] = fake[i];
				//				}

				printf("GPS DATA LOCKED: %s\r\n", gps_data_latest);

			}

		}else{
			Clear_Array(g_LTE_ParseBuffer, BUFFER_SIZE);
		}

		/* USER CODE END WHILE */

	}
}

void SystemClock_Config(void)
{
	RCC_OscInitTypeDef RCC_OscInitStruct = {0};
	RCC_ClkInitTypeDef RCC_ClkInitStruct = {0};

	/** Configure the main internal regulator output voltage
	 */
	__HAL_PWR_VOLTAGESCALING_CONFIG(PWR_REGULATOR_VOLTAGE_SCALE1);

	/** Initializes the RCC Oscillators according to the specified parameters
	 * in the RCC_OscInitTypeDef structure.
	 */
	RCC_OscInitStruct.OscillatorType = RCC_OSCILLATORTYPE_HSI;
	RCC_OscInitStruct.HSIState = RCC_HSI_ON;
	RCC_OscInitStruct.HSICalibrationValue = RCC_HSICALIBRATION_DEFAULT;
	RCC_OscInitStruct.PLL.PLLState = RCC_PLL_ON;
	RCC_OscInitStruct.PLL.PLLSource = RCC_PLLSOURCE_HSI;
	RCC_OscInitStruct.PLL.PLLMUL = RCC_PLL_MUL6;
	RCC_OscInitStruct.PLL.PLLDIV = RCC_PLL_DIV3;
	if (HAL_RCC_OscConfig(&RCC_OscInitStruct) != HAL_OK)
	{
		Error_Handler();
	}

	/** Initializes the CPU, AHB and APB buses clocks
	 */
	RCC_ClkInitStruct.ClockType = RCC_CLOCKTYPE_HCLK|RCC_CLOCKTYPE_SYSCLK
			|RCC_CLOCKTYPE_PCLK1|RCC_CLOCKTYPE_PCLK2;
	RCC_ClkInitStruct.SYSCLKSource = RCC_SYSCLKSOURCE_PLLCLK;
	RCC_ClkInitStruct.AHBCLKDivider = RCC_SYSCLK_DIV1;
	RCC_ClkInitStruct.APB1CLKDivider = RCC_HCLK_DIV1;
	RCC_ClkInitStruct.APB2CLKDivider = RCC_HCLK_DIV1;

	if (HAL_RCC_ClockConfig(&RCC_ClkInitStruct, FLASH_LATENCY_1) != HAL_OK)
	{
		Error_Handler();
	}
}

static void MX_ADC_Init(void)
{

	ADC_ChannelConfTypeDef sConfig = {0};

	/** Configure the global features of the ADC (Clock, Resolution, Data Alignment and number of conversion)
	 */
	hadc.Instance = ADC1;
	hadc.Init.ClockPrescaler = ADC_CLOCK_ASYNC_DIV1;
	hadc.Init.Resolution = ADC_RESOLUTION_12B;
	hadc.Init.DataAlign = ADC_DATAALIGN_RIGHT;
	hadc.Init.ScanConvMode = ADC_SCAN_DISABLE;
	hadc.Init.EOCSelection = ADC_EOC_SEQ_CONV;
	hadc.Init.LowPowerAutoWait = ADC_AUTOWAIT_DISABLE;
	hadc.Init.LowPowerAutoPowerOff = ADC_AUTOPOWEROFF_DISABLE;
	hadc.Init.ChannelsBank = ADC_CHANNELS_BANK_A;
	hadc.Init.ContinuousConvMode = DISABLE;
	hadc.Init.NbrOfConversion = 1;
	hadc.Init.DiscontinuousConvMode = DISABLE;
	hadc.Init.ExternalTrigConv = ADC_SOFTWARE_START;
	hadc.Init.ExternalTrigConvEdge = ADC_EXTERNALTRIGCONVEDGE_NONE;
	hadc.Init.DMAContinuousRequests = DISABLE;
	if (HAL_ADC_Init(&hadc) != HAL_OK)
	{
		Error_Handler();
	}

	/** Configure for the selected ADC regular channel its corresponding rank in the sequencer and its sample time.
	 */
	sConfig.Channel = ADC_CHANNEL_0;
	sConfig.Rank = ADC_REGULAR_RANK_1;
	sConfig.SamplingTime = ADC_SAMPLETIME_4CYCLES;
	if (HAL_ADC_ConfigChannel(&hadc, &sConfig) != HAL_OK)
	{
		Error_Handler();
	}

}

static void MX_UART4_Init(void)
{

	huart4.Instance = UART4;
	huart4.Init.BaudRate = 115200;
	huart4.Init.WordLength = UART_WORDLENGTH_8B;
	huart4.Init.StopBits = UART_STOPBITS_1;
	huart4.Init.Parity = UART_PARITY_NONE;
	huart4.Init.Mode = UART_MODE_TX_RX;
	huart4.Init.HwFlowCtl = UART_HWCONTROL_NONE;
	huart4.Init.OverSampling = UART_OVERSAMPLING_16;
	if (HAL_UART_Init(&huart4) != HAL_OK)
	{
		Error_Handler();
	}

}

static void MX_UART5_Init(void)
{

	huart5.Instance = UART5;
	huart5.Init.BaudRate = 115200;
	huart5.Init.WordLength = UART_WORDLENGTH_8B;
	huart5.Init.StopBits = UART_STOPBITS_1;
	huart5.Init.Parity = UART_PARITY_NONE;
	huart5.Init.Mode = UART_MODE_TX_RX;
	huart5.Init.HwFlowCtl = UART_HWCONTROL_NONE;
	huart5.Init.OverSampling = UART_OVERSAMPLING_16;
	if (HAL_UART_Init(&huart5) != HAL_OK)
	{
		Error_Handler();
	}

}

static void MX_USART1_UART_Init(void)
{

	huart1.Instance = USART1;
	huart1.Init.BaudRate = 9600;
	huart1.Init.WordLength = UART_WORDLENGTH_8B;
	huart1.Init.StopBits = UART_STOPBITS_1;
	huart1.Init.Parity = UART_PARITY_NONE;
	huart1.Init.Mode = UART_MODE_TX_RX;
	huart1.Init.HwFlowCtl = UART_HWCONTROL_NONE;
	huart1.Init.OverSampling = UART_OVERSAMPLING_16;
	if (HAL_UART_Init(&huart1) != HAL_OK)
	{
		Error_Handler();
	}

}

static void MX_USART2_UART_Init(void)
{

	huart2.Instance = USART2;
	huart2.Init.BaudRate = 57600;
	huart2.Init.WordLength = UART_WORDLENGTH_8B;
	huart2.Init.StopBits = UART_STOPBITS_1;
	huart2.Init.Parity = UART_PARITY_NONE;
	huart2.Init.Mode = UART_MODE_TX_RX;
	huart2.Init.HwFlowCtl = UART_HWCONTROL_NONE;
	huart2.Init.OverSampling = UART_OVERSAMPLING_16;
	if (HAL_UART_Init(&huart2) != HAL_OK)
	{
		Error_Handler();
	}

}

static void MX_USART3_UART_Init(void)
{

	huart3.Instance = USART3;
	huart3.Init.BaudRate = 9600;
	huart3.Init.WordLength = UART_WORDLENGTH_8B;
	huart3.Init.StopBits = UART_STOPBITS_1;
	huart3.Init.Parity = UART_PARITY_NONE;
	huart3.Init.Mode = UART_MODE_TX_RX;
	huart3.Init.HwFlowCtl = UART_HWCONTROL_NONE;
	huart3.Init.OverSampling = UART_OVERSAMPLING_16;
	if (HAL_UART_Init(&huart3) != HAL_OK)
	{
		Error_Handler();
	}

}

static void MX_DMA_Init(void)
{

	/* DMA controller clock enable */
	__HAL_RCC_DMA1_CLK_ENABLE();

	/* DMA interrupt init */
	/* DMA1_Channel3_IRQn interrupt configuration */
	HAL_NVIC_SetPriority(DMA1_Channel3_IRQn, 0, 0);
	HAL_NVIC_EnableIRQ(DMA1_Channel3_IRQn);
	/* DMA1_Channel5_IRQn interrupt configuration */
	HAL_NVIC_SetPriority(DMA1_Channel5_IRQn, 0, 0);
	HAL_NVIC_EnableIRQ(DMA1_Channel5_IRQn);
	/* DMA1_Channel6_IRQn interrupt configuration */
	HAL_NVIC_SetPriority(DMA1_Channel6_IRQn, 0, 0);
	HAL_NVIC_EnableIRQ(DMA1_Channel6_IRQn);

}

static void MX_GPIO_Init(void)
{
	GPIO_InitTypeDef GPIO_InitStruct = {0};

	/* GPIO Ports Clock Enable */
	__HAL_RCC_GPIOC_CLK_ENABLE();
	__HAL_RCC_GPIOH_CLK_ENABLE();
	__HAL_RCC_GPIOA_CLK_ENABLE();
	__HAL_RCC_GPIOB_CLK_ENABLE();
	__HAL_RCC_GPIOD_CLK_ENABLE();

	/*Configure GPIO pin Output Level */
	HAL_GPIO_WritePin(GPIOA, LD2_Pin|GPIO_PIN_6, GPIO_PIN_RESET);

	/*Configure GPIO pin Output Level */
	HAL_GPIO_WritePin(GPIOB, LED_1_Pin|LED_2_Pin|LED_3_Pin, GPIO_PIN_RESET);

	/*Configure GPIO pin : B1_Pin */
	GPIO_InitStruct.Pin = B1_Pin;
	GPIO_InitStruct.Mode = GPIO_MODE_IT_RISING;
	GPIO_InitStruct.Pull = GPIO_NOPULL;
	HAL_GPIO_Init(B1_GPIO_Port, &GPIO_InitStruct);

	/*Configure GPIO pins : LD2_Pin PA6 */
	GPIO_InitStruct.Pin = LD2_Pin|GPIO_PIN_6;
	GPIO_InitStruct.Mode = GPIO_MODE_OUTPUT_PP;
	GPIO_InitStruct.Pull = GPIO_NOPULL;
	GPIO_InitStruct.Speed = GPIO_SPEED_FREQ_LOW;
	HAL_GPIO_Init(GPIOA, &GPIO_InitStruct);

	/*Configure GPIO pins : LED_1_Pin LED_2_Pin LED_3_Pin */
	GPIO_InitStruct.Pin = LED_1_Pin|LED_2_Pin|LED_3_Pin;
	GPIO_InitStruct.Mode = GPIO_MODE_OUTPUT_PP;
	GPIO_InitStruct.Pull = GPIO_NOPULL;
	GPIO_InitStruct.Speed = GPIO_SPEED_FREQ_LOW;
	HAL_GPIO_Init(GPIOB, &GPIO_InitStruct);

}

void Error_Handler(void)
{
	__disable_irq();
	while (1)
	{
	}
}
